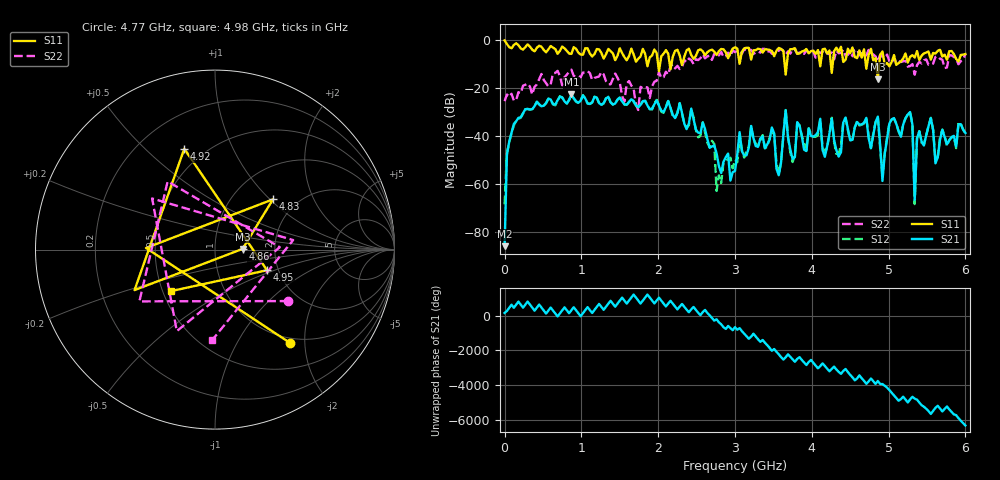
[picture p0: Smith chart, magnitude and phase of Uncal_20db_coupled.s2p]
#  HZ  S  DB  R  50.0
! Rohde & Schwarz ZVL13 2Ports - Version 3.20 - 1303.6509k13 SN: 100953
! Date: 2024-10-09 08:24:47
! Data & Calibration Information:
! Trc1:S11(Cal Off) Trc4:S21(Cal Off) Trc2:S12(Cal Off) Trc3:S22(Cal Off)
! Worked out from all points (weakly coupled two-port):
!   201 points, 9 kHz to 6 GHz, reference 50 ohm
!   highest |S21| = -22.59 dB at 870 MHz (marker M1); lowest = -86.0 dB at 9 kHz (marker M2)
!   lowest |S11| = -16.3 dB at 4.86 GHz (marker M3), VSWR 1.36, Z = 68.2 + j0.557 ohm
!   |S11| at or under -10 dB: 1.855 GHz to 1.866 GHz (10.98 MHz wide, 0.59 % of centre); 1.999 GHz to 2.024 GHz (24.9 MHz wide, 1.24 % of centre); 2.15 GHz to 2.172 GHz (21.73 MHz wide, 1.01 % of centre) (the widest 3 of 12)
!   |S22| runs from -29.1 to -3.5 dB; largest |S21 - S12| = 0.0041
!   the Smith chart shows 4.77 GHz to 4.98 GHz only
!   S11 on the Smith chart (normalised r, x): 4.77 GHz: 0.91, -1.71; 4.83 GHz: 1.52, +1.04; 4.86 GHz: 1.36, +0.01; 4.92 GHz: 0.39, +0.67; 4.95 GHz: 1.74, -0.44; 4.98 GHz: 0.55, -0.29
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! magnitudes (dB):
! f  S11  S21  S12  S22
! 9 kHz  0.0  -86.0  -68.5  -25.4
! 30.01 MHz  -1.5  -47.9  -46.9  -22.6
! 120 MHz  -1.9  -35.0  -35.6  -25.2
! 870 MHz  -5.6  -22.6  -22.9  -12.2
! 1.02 GHz  -6.0  -23.0  -22.9  -13.5
! 2.01 GHz  -12.9  -27.3  -27.0  -13.2
! 2.58 GHz  -4.5  -34.3  -34.3  -5.8
! 2.76 GHz  -6.1  -47.2  -62.9  -5.5
! 3 GHz  -2.9  -54.6  -49.9  -4.9
! 3.66 GHz  -14.3  -29.2  -29.1  -6.0
! 4.02 GHz  -4.3  -40.3  -40.3  -4.6
! 4.77 GHz  -3.5  -45.0  -45.1  -6.0
! 4.83 GHz  -7.4  -34.2  -34.2  -6.7
! 4.86 GHz  -16.3  -31.9  -31.9  -8.8
! 4.92 GHz  -4.6  -58.8  -56.1  -6.9
! 4.95 GHz  -10.1  -47.4  -47.1  -7.2
! 4.98 GHz  -9.4  -41.3  -40.6  -5.9
! 5.01 GHz  -10.8  -34.8  -34.8  -8.7
! 5.28 GHz  -6.9  -29.9  -30.2  -10.7
! 5.34 GHz  -7.1  -66.8  -68.4  -14.4
! 5.4 GHz  -8.2  -37.9  -38.0  -9.0
! 6 GHz  -5.7  -38.7  -38.9  -5.8
